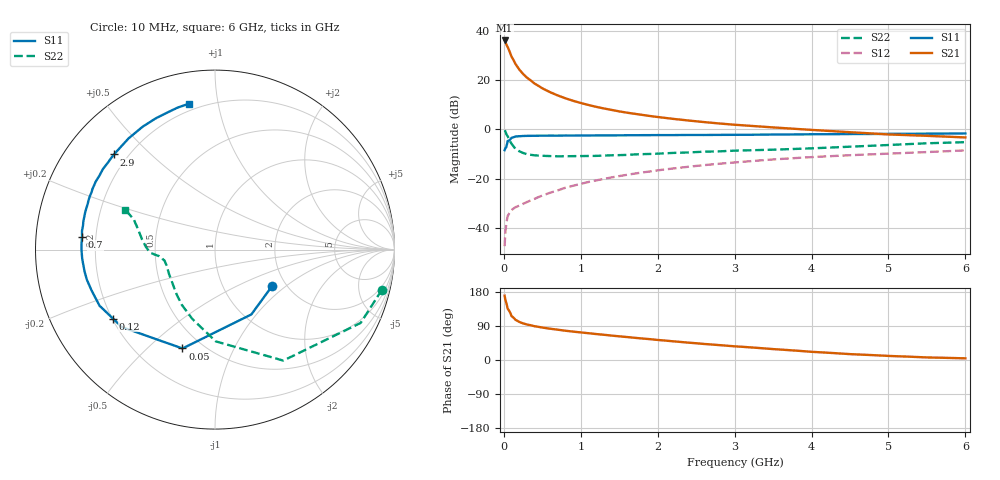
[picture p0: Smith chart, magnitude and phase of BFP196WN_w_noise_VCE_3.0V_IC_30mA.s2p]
! Infineon Technologies  Discrete & RF Semiconductors
! BFP196WN
! VCE =  3.0 V,  IC =  30 mA
! Common Emitter S-Parameters:  Jan 2017
# GHz  S  MA  R  50
!  f  S11  S21  S12  S22
! GHz  MAG  ANG  MAG  ANG  MAG  ANG  MAG  ANG
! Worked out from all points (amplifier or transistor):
!   77 points, 10 MHz to 6 GHz, reference 50 ohm
!   highest |S21| = 36.2 dB at 10 MHz (marker M1)
!   |S21| within 3 dB of that: start of sweep to 54.56 MHz
!   unconditionally stable (mu >= 1): 752.3 MHz to 2.737 GHz
!   at 130 MHz: K = 0.42, MSG = 30.0 dB, |S12| = -32.1 dB
!   at 2.2 GHz: K = 1.03, MAG = 9.1 dB, |S12| = -15.9 dB
!   at 6 GHz: K = 0.91, MSG = 2.6 dB, |S12| = -8.6 dB
!   lowest NFmin = 1.06 dB at 450 MHz
!   S11 on the Smith chart (normalised r, x): 10 MHz: 1.71, -0.80; 50 MHz: 0.39, -0.65; 120 MHz: 0.20, -0.30; 700 MHz: 0.15, +0.05; 2.9 GHz: 0.15, +0.39; 6 GHz: 0.16, +0.82
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0.01  0.3776 -32.1  64.38 169.8  0.0042 78.6  0.9567 -13.5
0.02  0.4141 -60.7  59.86 158.8  0.0083 72.5  0.9087 -26.7
0.05  0.5798 -108.2  47.32 135.3  0.0173 53.5  0.7261 -58.4
0.1  0.6748 -140.2  30.14 115.8  0.0229 45.3  0.5114 -89.5
0.12  0.6861 -145.9  26.63 112.7  0.0241 44.4  0.4636 -95.9
0.15  0.7153 -154.1  21.56 106.3  0.026 43.1  0.4061 -108.2
0.2  0.7245 -161.8  16.55 100.6  0.028 44.1  0.359 -121.0
0.25  0.7334 -166.8  13.41 96.6  0.0305 46.9  0.3313 -129.6
0.3  0.737 -170.5  11.27 93.7  0.0332 49.8  0.3122 -136.7
0.4  0.7416 -176.0  8.528 89.1  0.0386 53.5  0.2962 -145.6
0.5  0.7438 -179.8  6.842 85.6  0.045 56.9  0.2901 -152.0
0.6  0.7444 177.1  5.72 82.6  0.0512 59.1  0.2859 -156.5
0.7  0.7441 174.6  4.898 80.0  0.0573 61.5  0.2829 -159.6
0.9  0.7475 169.6  3.811 74.9  0.0711 63.0  0.2851 -163.9
1.1  0.751 165.8  3.133 70.7  0.085 64.2  0.2874 -167.1
1.5  0.7562 158.7  2.32 62.5  0.1119 63.9  0.299 -171.1
2.1  0.7645 148.8  1.709 51.2  0.1532 61.4  0.3259 -174.4
2.9  0.7727 136.7  1.279 37.7  0.2058 56.0  0.3626 -177.8
3.1  0.7753 133.6  1.211 34.8  0.2185 54.4  0.3719 -179.5
4.1  0.7955 119.1  0.954 20.5  0.2774 46.3  0.4169 170.5
5.1  0.8102 108.2  0.778 10.0  0.3253 38.9  0.4884 159.3
6  0.8258 100.2  0.685 4.4  0.3735 32.9  0.5486 156.2
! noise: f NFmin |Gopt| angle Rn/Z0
0.45  1.06  0.46  178  0.04
0.9  1.19  0.52  184  0.05
1.9  2.13  0.68  211  0.13
2.4  2.86  0.69  218  0.24
